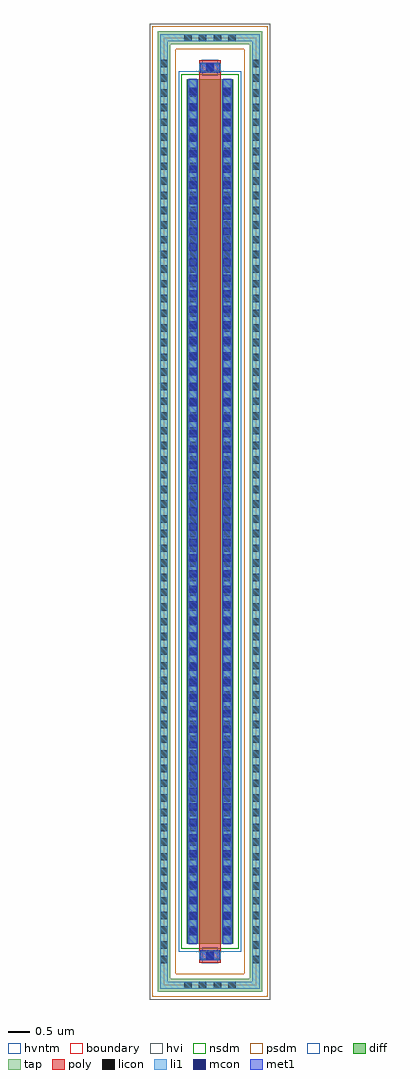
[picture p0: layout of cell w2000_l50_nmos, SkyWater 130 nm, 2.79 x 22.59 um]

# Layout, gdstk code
import gdstk
lib = gdstk.Library(unit=1e-6, precision=1e-09)
def R(c, l, rs):  # rectangles x0, y0, x1, y1
    for r in rs: c.add(gdstk.rectangle(r[:2], r[2:], *l))
def A(c, l, x, y, w, h, nx, ny, dx, dy):  # array of equal rectangles
    R(c, l, [(x+i*dx, y+j*dy, x+i*dx+w, y+j*dy+h) for i in range(nx) for j in range(ny)])
diff = (65, 20)
tap = (65, 44)
poly = (66, 20)
licon = (66, 44)
li1 = (67, 20)
mcon = (67, 44)
met1 = (68, 20)
hvi = (75, 20)
nsdm = (93, 44)
psdm = (94, 20)
npc = (95, 20)
hvntm = (125, 20)
boundary = (235, 4)

sky130_fd_pr__nfet_g5v0d = lib.new_cell('sky130_fd_pr__nfet_g5v0d10v5')

w2000_l50_nmos = lib.new_cell('w2000_l50_nmos')
R(w2000_l50_nmos, diff, [(-0.54,-10,0.54,10)])
R(w2000_l50_nmos, tap, [(-1.21,-11.11,1.21,-10.82), (-1.21,-10.82,-0.92,10.82), (0.92,-10.82,1.21,10.82), (-1.21,10.82,1.21,11.11)])
R(w2000_l50_nmos, poly, [(-0.25,-10.44,0.25,10.44)])
A(w2000_l50_nmos, licon, -0.595, -11.05, 0.17, 0.17, 4, 2, 0.34, 21.93)
A(w2000_l50_nmos, licon, -1.15, -10.455, 0.17, 0.17, 1, 62, 0, 0.34)
A(w2000_l50_nmos, licon, 0.98, -10.455, 0.17, 0.17, 1, 62, 0, 0.34)
A(w2000_l50_nmos, licon, -0.48, -9.775, 0.17, 0.17, 1, 58, 0, 0.34)
A(w2000_l50_nmos, licon, 0.31, -9.775, 0.17, 0.17, 1, 58, 0, 0.34)
R(w2000_l50_nmos, licon, [(-0.085,-10.36,0.085,-10.19), (-0.085,10.19,0.085,10.36)])
R(w2000_l50_nmos, li1, [(-1.15,-11.05,1.15,-10.88), (-1.15,-10.88,-0.98,10.88), (0.98,-10.88,1.15,10.88), (-0.25,-10.36,0.25,-10.19), (-0.48,-10.02,-0.31,10.02), (0.31,-10.02,0.48,10.02), (-0.25,10.19,0.25,10.36), (-1.15,10.88,1.15,11.05)])
A(w2000_l50_nmos, mcon, -0.48, -9.805, 0.17, 0.17, 1, 55, 0, 0.36)
A(w2000_l50_nmos, mcon, 0.31, -9.805, 0.17, 0.17, 1, 55, 0, 0.36)
R(w2000_l50_nmos, mcon, [(-0.085,-10.36,0.085,-10.19), (-0.085,10.19,0.085,10.36)])
R(w2000_l50_nmos, met1, [(-0.23,-10.39,0.23,-10.16), (-0.51,-10,-0.28,10), (0.28,-10,0.51,10), (-0.23,10.16,0.23,10.39)])
R(w2000_l50_nmos, hvi, [(-1.395,-11.295,1.395,11.295)])
R(w2000_l50_nmos, nsdm, [(-0.665,-10.125,0.665,10.125)])
R(w2000_l50_nmos, psdm, [(-1.335,-11.235,1.335,-10.695), (-1.335,-10.695,-0.795,10.695), (0.795,-10.695,1.335,10.695), (-1.335,10.695,1.335,11.235)])
R(w2000_l50_nmos, npc, [(-0.185,-10.46,0.185,-10.09), (-0.185,10.09,0.185,10.46)])
R(w2000_l50_nmos, hvntm, [(-0.725,-10.185,0.725,10.185)])
R(w2000_l50_nmos, boundary, [(-1.065,-10.965,1.065,10.965)])
w2000_l50_nmos.add(gdstk.Reference(sky130_fd_pr__nfet_g5v0d, (0,0)))

lib.write_gds('w2000_l50_nmos.gds')
